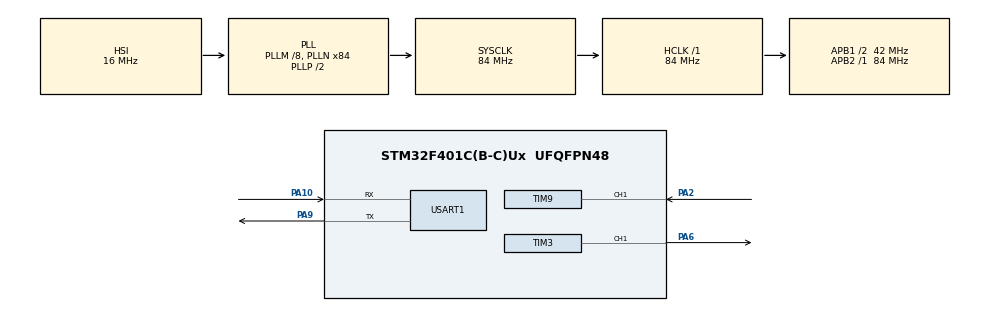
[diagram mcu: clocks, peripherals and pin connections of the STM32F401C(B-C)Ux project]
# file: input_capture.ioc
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Dma.Request0=USART1_RX
Dma.USART1_RX.0.Direction=DMA_PERIPH_TO_MEMORY
Dma.USART1_RX.0.FIFOMode=DMA_FIFOMODE_DISABLE
Dma.USART1_RX.0.Instance=DMA2_Stream2
Dma.USART1_RX.0.MemDataAlignment=DMA_MDATAALIGN_BYTE
Dma.USART1_RX.0.MemInc=DMA_MINC_ENABLE
Dma.USART1_RX.0.Mode=DMA_CIRCULAR
Dma.USART1_RX.0.PeriphDataAlignment=DMA_PDATAALIGN_BYTE
Dma.USART1_RX.0.PeriphInc=DMA_PINC_DISABLE
Dma.USART1_RX.0.Priority=DMA_PRIORITY_LOW
Mcu.Family=STM32F4
Mcu.Name=STM32F401C(B-C)Ux
Mcu.Package=UFQFPN48
NVIC.DMA2_Stream2_IRQn=true\:0\:0\:false\:false\:true\:false\:true\:true
NVIC.PriorityGroup=NVIC_PRIORITYGROUP_4
NVIC.TIM1_BRK_TIM9_IRQn=true\:0\:0\:false\:false\:true\:true\:true\:true
PA10.Mode=Asynchronous
PA10.Signal=USART1_RX
PA13.Mode=Serial_Wire
PA13.Signal=SYS_JTMS-SWDIO
PA14.Mode=Serial_Wire
PA14.Signal=SYS_JTCK-SWCLK
PA2.Signal=S_TIM9_CH1
PA6.Signal=S_TIM3_CH1
PA9.Mode=Asynchronous
PA9.Signal=USART1_TX
PH0\ -\ OSC_IN.Mode=HSE-External-Oscillator
PH0\ -\ OSC_IN.Signal=RCC_OSC_IN
PH1\ -\ OSC_OUT.Mode=HSE-External-Oscillator
PH1\ -\ OSC_OUT.Signal=RCC_OSC_OUT
ProjectManager.HeapSize=0x200
ProjectManager.StackSize=0x400
ProjectManager.TargetToolchain=STM32CubeIDE
RCC.48MHZClocksFreq_Value=42000000
RCC.AHBFreq_Value=84000000
RCC.APB1CLKDivider=RCC_HCLK_DIV2
RCC.APB1Freq_Value=42000000
RCC.APB1TimFreq_Value=84000000
RCC.APB2Freq_Value=84000000
RCC.APB2TimFreq_Value=84000000
RCC.CortexFreq_Value=84000000
RCC.HCLKFreq_Value=84000000
RCC.HSE_VALUE=25000000
RCC.HSI_VALUE=16000000
RCC.LSE_VALUE=32768
RCC.PLLM=8
RCC.PLLN=84
RCC.SYSCLKFreq_VALUE=84000000
RCC.SYSCLKSource=RCC_SYSCLKSOURCE_PLLCLK
RCC.VCOOutputFreq_Value=168000000
SH.S_TIM3_CH1.0=TIM3_CH1,PWM Generation1 CH1
SH.S_TIM9_CH1.0=TIM9_CH1,Input_Capture1_from_TI1
TIM3.AutoReloadPreload=TIM_AUTORELOAD_PRELOAD_ENABLE
TIM3.Channel-PWM\ Generation1\ CH1=TIM_CHANNEL_1
TIM3.Period=10000
TIM3.Prescaler=84-1
TIM3.Pulse-PWM\ Generation1\ CH1=5000
TIM9.Channel-Input_Capture1_from_TI1=TIM_CHANNEL_1
TIM9.ICPolarity_CH1=TIM_INPUTCHANNELPOLARITY_FALLING
TIM9.Prescaler=84-1
USART1.VirtualMode=VM_ASYNC
VP_TIM3_VS_ClockSourceINT.Mode=Internal
VP_TIM9_VS_ClockSourceINT.Mode=Internal
board=custom

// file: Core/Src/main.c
/* USER CODE BEGIN Header */
/**
  ******************************************************************************
  * @file           : main.c
  * @brief          : Main program body
  ******************************************************************************
  * @attention
  *
  * Copyright (c) 2024 STMicroelectronics.
  * All rights reserved.
  *
  * This software is licensed under terms that can be found in the LICENSE file
  * in the root directory of this software component.
  * If no LICENSE file comes with this software, it is provided AS-IS.
  *
  ******************************************************************************
  */
/* USER CODE END Header */
#include "main.h"
#include "dma.h"
#include "tim.h"
#include "usart.h"
#include "gpio.h"

/* USER CODE BEGIN PTD */
typedef enum{
	PWM_ARR = 0,
	PWM_CCR,
}command_change_pwm;
/* USER CODE END PTD */

/* USER CODE BEGIN PD */
#define CAPTURE_FREQ 1000000
/* USER CODE END PD */

/* USER CODE BEGIN PV */
uint16_t duration_time = 0;
uint16_t falling_time = 0;
bool count_ic = false;
bool capture_start = true;
bool capture_flag = false;
uint8_t uart_send_buffer[32];

uint8_t uart_rx_data = 0;
/* USER CODE END PV */

void SystemClock_Config(void);
/* USER CODE BEGIN PFP */
void uart_send(uint8_t uart_num,char *fmt,...);
void cal_pulse();
void pwm_change(TIM_HandleTypeDef *htim,uint16_t arr_cal_val,uint16_t ccr_cal_val,command_change_pwm command);

 void HAL_UART_RxCpltCallback(UART_HandleTypeDef *huart)
{
	 if(huart->Instance==huart1.Instance){
		 HAL_UART_Receive_DMA(huart, &uart_rx_data, 1);
	 }
	 UNUSED(huart);
}

void HAL_TIM_IC_CaptureCallback(TIM_HandleTypeDef *htim)
{
	if(htim==&htim9){
		if(htim->Channel == HAL_TIM_ACTIVE_CHANNEL_1){
			 if((htim->Instance->CCER & 0x02) == 0x02){//falling
					if (!count_ic){
						htim->Instance->CNT = 0;
						__HAL_TIM_SET_CAPTUREPOLARITY(htim, TIM_CHANNEL_1, TIM_ICPOLARITY_RISING);
					}
					else{
							duration_time = htim->Instance->CCR1;
							capture_flag = true;
							count_ic = false;
					}
			 }
			 else if((htim->Instance->CCER & 0x02) == 0x00){//rising
					count_ic=true;
					falling_time = htim->Instance->CCR1;
					htim->Instance->CNT = 0;
					__HAL_TIM_SET_CAPTUREPOLARITY(htim, TIM_CHANNEL_1, TIM_ICPOLARITY_FALLING);
			 }
		}
	}
  UNUSED(htim);
}

void cal_pulse(){
		uint32_t duty_cycle;
    uint32_t hz;
    duty_cycle = (duration_time*1000)/(duration_time+falling_time);
    hz = CAPTURE_FREQ/(duration_time+falling_time);
    uart_send(1,"LOW:%d HIGH:%d ",falling_time,duration_time);
    uart_send(1,"%luhz ",hz);
    uart_send(1,"%lu.%lu%%\n",duty_cycle/10,duty_cycle-(duty_cycle/10)*10);
}

void uart_send(uint8_t uart_num,char *fmt,...)
{
    va_list arg;
    va_start(arg,fmt);
    vsnprintf((char *)uart_send_buffer,32,fmt,arg);

    if(uart_num==1){
        HAL_UART_Transmit(&huart1,uart_send_buffer,32,10);
    }

    va_end(arg);
    memset(uart_send_buffer,0,32);
}

void pwm_change(TIM_HandleTypeDef *htim,uint16_t arr_cal_val,uint16_t ccr_cal_val,command_change_pwm command){
	if(command==PWM_ARR){
		uart_send(1,"ARR_MODE\n");
		while(1){
			if(uart_rx_data == '+'){
				htim->Instance->ARR = (htim->Instance->ARR>65535-arr_cal_val) ?
						htim->Instance->ARR : htim->Instance->ARR + arr_cal_val;
				uart_send(1,"ARR : %d\n",htim->Instance->ARR);
				uart_rx_data = 0;
			}
			else if(uart_rx_data == '-'){
				htim->Instance->ARR = (htim->Instance->ARR > arr_cal_val)&&(htim->Instance->ARR > arr_cal_val + htim->Instance->CCR1) ?
						htim->Instance->ARR - arr_cal_val: htim->Instance->ARR;
				uart_send(1,"ARR : %d\n",htim->Instance->ARR);
				uart_rx_data = 0;
			}
			else if(uart_rx_data == 'q'){
				uart_send(1,"break\n");
				break;
			}
		}
	}

	else if(command==PWM_CCR){
		uart_send(1,"CCR_MODE\n");
		while(1){
			if(uart_rx_data == '+'){
				htim->Instance->CCR1 = (htim->Instance->CCR1 + ccr_cal_val >= htim->Instance->ARR) ?
						htim->Instance->CCR1 : htim->Instance->CCR1 + ccr_cal_val;
				uart_send(1,"CCR1 : %d\n",htim->Instance->CCR1);
				uart_rx_data = 0;
			}
			else if(uart_rx_data == '-'){
				htim->Instance->CCR1 = (htim->Instance->CCR1 > ccr_cal_val) ?
						htim->Instance->CCR1 - ccr_cal_val : htim->Instance->CCR1;
				uart_send(1,"CCR1 : %d\n",htim->Instance->CCR1);
				uart_rx_data = 0;
			}
			else if(uart_rx_data == 'q'){
				uart_send(1,"break\n");
				break;
			}
		}
	}
}
/* USER CODE END PFP */

int main(void)
{

  /* MCU Configuration--------------------------------------------------------*/

  /* Reset of all peripherals, Initializes the Flash interface and the Systick. */
  HAL_Init();

  /* Configure the system clock */
  SystemClock_Config();

  /* Initialize all configured peripherals */
  MX_GPIO_Init();
  MX_DMA_Init();
  MX_USART1_UART_Init();
  MX_TIM9_Init();
  MX_TIM3_Init();
  /* USER CODE BEGIN 2 */
  UART_Start_Receive_DMA(&huart1, &uart_rx_data, 1);
  HAL_TIM_IC_Start_IT(&htim9, TIM_CHANNEL_1);
  HAL_TIM_PWM_Start(&htim3, TIM_CHANNEL_1);

  uint32_t pretime=HAL_GetTick();
  /* USER CODE END 2 */

  /* Infinite loop */
  /* USER CODE BEGIN WHILE */
  while (1)
  {
  	if(uart_rx_data=='a'||uart_rx_data=='A'){
  		pwm_change(&htim3, 1000, 1000, PWM_ARR);
  		uart_rx_data = 0;
  	}
  	else if(uart_rx_data=='c'||uart_rx_data=='C'){
  		pwm_change(&htim3, 1000, 1000, PWM_CCR);
  		uart_rx_data = 0;
  	}
  	if(HAL_GetTick()-pretime>500){
  		cal_pulse();
  		pretime=HAL_GetTick();
  	}
    /* USER CODE END WHILE */

  }
}

void SystemClock_Config(void)
{
  RCC_OscInitTypeDef RCC_OscInitStruct = {0};
  RCC_ClkInitTypeDef RCC_ClkInitStruct = {0};

  /** Configure the main internal regulator output voltage
  */
  __HAL_RCC_PWR_CLK_ENABLE();
  __HAL_PWR_VOLTAGESCALING_CONFIG(PWR_REGULATOR_VOLTAGE_SCALE2);

  /** Initializes the RCC Oscillators according to the specified parameters
  * in the RCC_OscInitTypeDef structure.
  */
  RCC_OscInitStruct.OscillatorType = RCC_OSCILLATORTYPE_HSI;
  RCC_OscInitStruct.HSIState = RCC_HSI_ON;
  RCC_OscInitStruct.HSICalibrationValue = RCC_HSICALIBRATION_DEFAULT;
  RCC_OscInitStruct.PLL.PLLState = RCC_PLL_ON;
  RCC_OscInitStruct.PLL.PLLSource = RCC_PLLSOURCE_HSI;
  RCC_OscInitStruct.PLL.PLLM = 8;
  RCC_OscInitStruct.PLL.PLLN = 84;
  RCC_OscInitStruct.PLL.PLLP = RCC_PLLP_DIV2;
  RCC_OscInitStruct.PLL.PLLQ = 4;
  if (HAL_RCC_OscConfig(&RCC_OscInitStruct) != HAL_OK)
  {
    Error_Handler();
  }

  /** Initializes the CPU, AHB and APB buses clocks
  */
  RCC_ClkInitStruct.ClockType = RCC_CLOCKTYPE_HCLK|RCC_CLOCKTYPE_SYSCLK
                              |RCC_CLOCKTYPE_PCLK1|RCC_CLOCKTYPE_PCLK2;
  RCC_ClkInitStruct.SYSCLKSource = RCC_SYSCLKSOURCE_PLLCLK;
  RCC_ClkInitStruct.AHBCLKDivider = RCC_SYSCLK_DIV1;
  RCC_ClkInitStruct.APB1CLKDivider = RCC_HCLK_DIV2;
  RCC_ClkInitStruct.APB2CLKDivider = RCC_HCLK_DIV1;

  if (HAL_RCC_ClockConfig(&RCC_ClkInitStruct, FLASH_LATENCY_2) != HAL_OK)
  {
    Error_Handler();
  }
}

void Error_Handler(void)
{
  __disable_irq();
  while (1)
  {
  }
}
